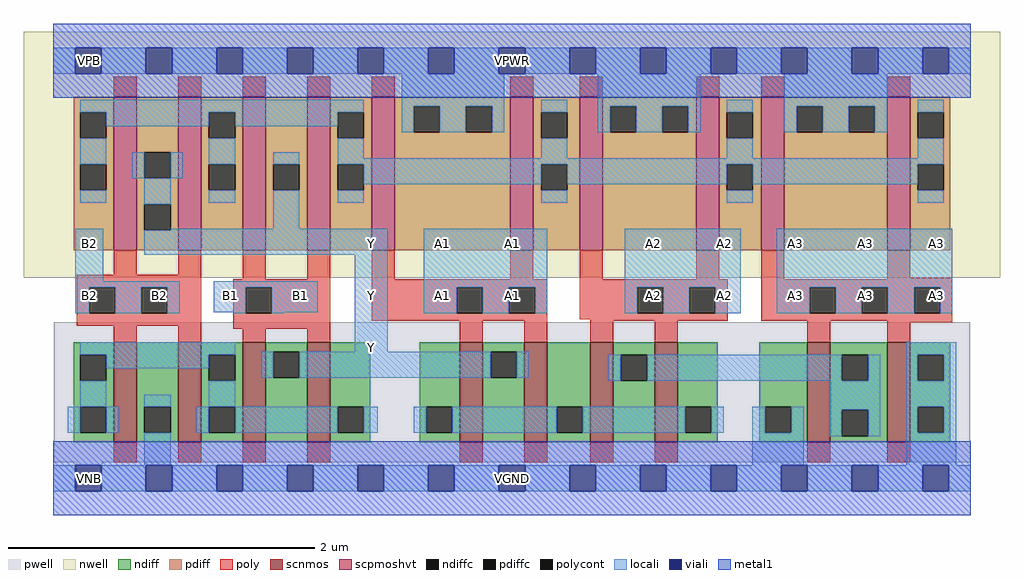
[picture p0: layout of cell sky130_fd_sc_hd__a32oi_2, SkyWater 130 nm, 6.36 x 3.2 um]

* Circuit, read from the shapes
.subckt sky130_fd_sc_hd__a32oi_2 A1 A2 A3 B1 B2 VGND VNB VPB VPWR Y
XM1 VGND B2 n1 VNB sky130_fd_pr__nfet_01v8 w=0.65 l=0.15 m=2
XM2 Y B1 n1 VNB sky130_fd_pr__nfet_01v8 w=0.65 l=0.15 m=2
XM3 Y A1 n2 VNB sky130_fd_pr__nfet_01v8 w=0.65 l=0.15 m=2
XM4 n3 A2 n2 VNB sky130_fd_pr__nfet_01v8 w=0.65 l=0.15 m=2
XM5 n3 A3 VGND VNB sky130_fd_pr__nfet_01v8 w=0.65 l=0.15 m=2
XM6 Y B2 n4 VPB sky130_fd_pr__pfet_01v8_hvt w=1 l=0.15 m=2
XM7 Y B1 n4 VPB sky130_fd_pr__pfet_01v8_hvt w=1 l=0.15 m=2
XM8 VPWR A1 n4 VPB sky130_fd_pr__pfet_01v8_hvt w=1 l=0.15 m=2
XM9 VPWR A2 n4 VPB sky130_fd_pr__pfet_01v8_hvt w=1 l=0.15 m=2
XM10 VPWR A3 n4 VPB sky130_fd_pr__pfet_01v8_hvt w=1 l=0.15 m=2
.ends

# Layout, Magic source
magic
tech sky130B
magscale 1 2
<< nwell >>
rect -38 261 1234 582
<< pwell >>
rect 1 21 1195 203
rect 30 -17 64 21
<< scnmos >>
rect 79 47 109 177
rect 163 47 193 177
rect 247 47 277 177
rect 331 47 361 177
rect 530 47 560 177
rect 614 47 644 177
rect 700 47 730 177
rect 784 47 814 177
rect 983 47 1013 177
rect 1087 47 1117 177
<< scpmoshvt >>
rect 79 297 109 497
rect 163 297 193 497
rect 247 297 277 497
rect 331 297 361 497
rect 415 297 445 497
rect 596 297 626 497
rect 686 297 716 497
rect 838 297 868 497
rect 923 297 953 497
rect 1087 297 1117 497
<< ndiff >>
rect 27 161 79 177
rect 27 127 35 161
rect 69 127 79 161
rect 27 93 79 127
rect 27 59 35 93
rect 69 59 79 93
rect 27 47 79 59
rect 109 93 163 177
rect 109 59 119 93
rect 153 59 163 93
rect 109 47 163 59
rect 193 161 247 177
rect 193 127 203 161
rect 237 127 247 161
rect 193 93 247 127
rect 193 59 203 93
rect 237 59 247 93
rect 193 47 247 59
rect 277 165 331 177
rect 277 131 287 165
rect 321 131 331 165
rect 277 47 331 131
rect 361 93 413 177
rect 361 59 371 93
rect 405 59 413 93
rect 361 47 413 59
rect 478 93 530 177
rect 478 59 486 93
rect 520 59 530 93
rect 478 47 530 59
rect 560 165 614 177
rect 560 131 570 165
rect 604 131 614 165
rect 560 47 614 131
rect 644 93 700 177
rect 644 59 656 93
rect 690 59 700 93
rect 644 47 700 59
rect 730 161 784 177
rect 730 127 740 161
rect 774 127 784 161
rect 730 47 784 127
rect 814 93 866 177
rect 814 59 824 93
rect 858 59 866 93
rect 814 47 866 59
rect 920 93 983 177
rect 920 59 928 93
rect 962 59 983 93
rect 920 47 983 59
rect 1013 161 1087 177
rect 1013 127 1028 161
rect 1062 127 1087 161
rect 1013 89 1087 127
rect 1013 55 1028 89
rect 1062 55 1087 89
rect 1013 47 1087 55
rect 1117 161 1169 177
rect 1117 127 1127 161
rect 1161 127 1169 161
rect 1117 93 1169 127
rect 1117 59 1127 93
rect 1161 59 1169 93
rect 1117 47 1169 59
<< pdiff >>
rect 27 477 79 497
rect 27 443 35 477
rect 69 443 79 477
rect 27 409 79 443
rect 27 375 35 409
rect 69 375 79 409
rect 27 297 79 375
rect 109 425 163 497
rect 109 391 119 425
rect 153 391 163 425
rect 109 357 163 391
rect 109 323 119 357
rect 153 323 163 357
rect 109 297 163 323
rect 193 477 247 497
rect 193 443 203 477
rect 237 443 247 477
rect 193 409 247 443
rect 193 375 203 409
rect 237 375 247 409
rect 193 297 247 375
rect 277 409 331 497
rect 277 375 287 409
rect 321 375 331 409
rect 277 297 331 375
rect 361 477 415 497
rect 361 443 371 477
rect 405 443 415 477
rect 361 409 415 443
rect 361 375 371 409
rect 405 375 415 409
rect 361 297 415 375
rect 445 485 596 497
rect 445 451 470 485
rect 504 451 538 485
rect 572 451 596 485
rect 445 297 596 451
rect 626 477 686 497
rect 626 443 636 477
rect 670 443 686 477
rect 626 409 686 443
rect 626 375 636 409
rect 670 375 686 409
rect 626 297 686 375
rect 716 485 838 497
rect 716 451 726 485
rect 760 451 794 485
rect 828 451 838 485
rect 716 297 838 451
rect 868 477 923 497
rect 868 443 878 477
rect 912 443 923 477
rect 868 409 923 443
rect 868 375 878 409
rect 912 375 923 409
rect 868 297 923 375
rect 953 485 1087 497
rect 953 451 969 485
rect 1003 451 1037 485
rect 1071 451 1087 485
rect 953 297 1087 451
rect 1117 477 1169 497
rect 1117 443 1127 477
rect 1161 443 1169 477
rect 1117 409 1169 443
rect 1117 375 1127 409
rect 1161 375 1169 409
rect 1117 297 1169 375
<< ndiffc >>
rect 35 127 69 161
rect 35 59 69 93
rect 119 59 153 93
rect 203 127 237 161
rect 203 59 237 93
rect 287 131 321 165
rect 371 59 405 93
rect 486 59 520 93
rect 570 131 604 165
rect 656 59 690 93
rect 740 127 774 161
rect 824 59 858 93
rect 928 59 962 93
rect 1028 127 1062 161
rect 1028 55 1062 89
rect 1127 127 1161 161
rect 1127 59 1161 93
<< pdiffc >>
rect 35 443 69 477
rect 35 375 69 409
rect 119 391 153 425
rect 119 323 153 357
rect 203 443 237 477
rect 203 375 237 409
rect 287 375 321 409
rect 371 443 405 477
rect 371 375 405 409
rect 470 451 504 485
rect 538 451 572 485
rect 636 443 670 477
rect 636 375 670 409
rect 726 451 760 485
rect 794 451 828 485
rect 878 443 912 477
rect 878 375 912 409
rect 969 451 1003 485
rect 1037 451 1071 485
rect 1127 443 1161 477
rect 1127 375 1161 409
<< poly >>
rect 79 497 109 523
rect 163 497 193 523
rect 247 497 277 523
rect 331 497 361 523
rect 415 497 445 523
rect 596 497 626 523
rect 686 497 716 523
rect 838 497 868 523
rect 923 497 953 523
rect 1087 497 1117 523
rect 79 265 109 297
rect 163 265 193 297
rect 31 249 193 265
rect 247 259 277 297
rect 331 259 361 297
rect 31 215 47 249
rect 81 215 115 249
rect 149 215 193 249
rect 31 199 193 215
rect 79 177 109 199
rect 163 177 193 199
rect 235 249 361 259
rect 235 215 251 249
rect 285 215 361 249
rect 235 195 361 215
rect 415 259 445 297
rect 596 259 626 297
rect 686 259 716 297
rect 838 259 868 297
rect 923 259 953 297
rect 1087 261 1117 297
rect 1087 259 1172 261
rect 415 249 644 259
rect 415 215 526 249
rect 560 215 594 249
rect 628 215 644 249
rect 415 205 644 215
rect 686 249 879 259
rect 686 215 761 249
rect 795 215 829 249
rect 863 215 879 249
rect 686 207 879 215
rect 247 177 277 195
rect 331 177 361 195
rect 530 177 560 205
rect 614 177 644 205
rect 700 205 879 207
rect 923 249 1172 259
rect 923 215 986 249
rect 1020 215 1054 249
rect 1088 215 1122 249
rect 1156 215 1172 249
rect 923 205 1172 215
rect 700 177 730 205
rect 784 177 814 205
rect 983 177 1013 205
rect 1087 203 1172 205
rect 1087 177 1117 203
rect 79 21 109 47
rect 163 21 193 47
rect 247 21 277 47
rect 331 21 361 47
rect 530 21 560 47
rect 614 21 644 47
rect 700 21 730 47
rect 784 21 814 47
rect 983 21 1013 47
rect 1087 21 1117 47
<< polycont >>
rect 47 215 81 249
rect 115 215 149 249
rect 251 215 285 249
rect 526 215 560 249
rect 594 215 628 249
rect 761 215 795 249
rect 829 215 863 249
rect 986 215 1020 249
rect 1054 215 1088 249
rect 1122 215 1156 249
<< locali >>
rect 0 527 29 561
rect 63 527 121 561
rect 155 527 213 561
rect 247 527 305 561
rect 339 527 397 561
rect 431 527 489 561
rect 523 527 581 561
rect 615 527 673 561
rect 707 527 765 561
rect 799 527 857 561
rect 891 527 949 561
rect 983 527 1041 561
rect 1075 527 1133 561
rect 1167 527 1196 561
rect 35 477 405 493
rect 69 459 203 477
rect 35 409 69 443
rect 237 459 371 477
rect 103 391 119 425
rect 153 391 169 425
rect 203 409 237 443
rect 454 485 588 527
rect 454 451 470 485
rect 504 451 538 485
rect 572 451 588 485
rect 636 477 670 493
rect 35 359 69 375
rect 119 357 153 391
rect 203 359 237 375
rect 287 409 321 425
rect 29 257 65 325
rect 287 325 321 375
rect 371 417 405 443
rect 710 485 844 527
rect 710 451 726 485
rect 760 451 794 485
rect 828 451 844 485
rect 878 477 912 493
rect 636 417 670 443
rect 953 485 1087 527
rect 953 451 969 485
rect 1003 451 1037 485
rect 1071 451 1087 485
rect 1127 477 1161 493
rect 878 417 912 443
rect 1127 417 1161 443
rect 371 409 1161 417
rect 405 383 636 409
rect 371 359 405 375
rect 670 383 878 409
rect 636 359 670 375
rect 912 383 1127 409
rect 878 359 912 375
rect 1127 359 1161 375
rect 153 323 436 325
rect 119 291 436 323
rect 29 249 165 257
rect 29 215 47 249
rect 81 215 115 249
rect 149 215 165 249
rect 209 249 345 257
rect 209 216 251 249
rect 235 215 251 216
rect 285 216 345 249
rect 285 215 301 216
rect 35 161 237 177
rect 393 165 436 291
rect 483 249 644 325
rect 483 215 526 249
rect 560 215 594 249
rect 628 215 644 249
rect 745 249 896 325
rect 745 215 761 249
rect 795 215 829 249
rect 863 215 896 249
rect 943 249 1172 325
rect 943 215 986 249
rect 1020 215 1054 249
rect 1088 215 1122 249
rect 1156 215 1172 249
rect 69 143 203 161
rect 35 93 69 127
rect 271 131 287 165
rect 321 131 570 165
rect 604 131 620 165
rect 1112 161 1177 177
rect 724 127 740 161
rect 774 127 1028 161
rect 1062 127 1078 161
rect 119 93 153 109
rect 203 93 237 127
rect 19 59 35 93
rect 69 59 85 93
rect 187 59 203 93
rect 237 59 371 93
rect 405 59 423 93
rect 470 59 486 93
rect 520 59 656 93
rect 690 59 824 93
rect 858 59 874 93
rect 911 59 928 93
rect 962 59 978 93
rect 119 17 153 59
rect 911 17 978 59
rect 1012 89 1078 127
rect 1012 55 1028 89
rect 1062 55 1078 89
rect 1112 127 1127 161
rect 1161 127 1177 161
rect 1112 93 1177 127
rect 1112 59 1127 93
rect 1161 59 1177 93
rect 1112 17 1177 59
rect 0 -17 29 17
rect 63 -17 121 17
rect 155 -17 213 17
rect 247 -17 305 17
rect 339 -17 397 17
rect 431 -17 489 17
rect 523 -17 581 17
rect 615 -17 673 17
rect 707 -17 765 17
rect 799 -17 857 17
rect 891 -17 949 17
rect 983 -17 1041 17
rect 1075 -17 1133 17
rect 1167 -17 1196 17
<< viali >>
rect 29 527 63 561
rect 121 527 155 561
rect 213 527 247 561
rect 305 527 339 561
rect 397 527 431 561
rect 489 527 523 561
rect 581 527 615 561
rect 673 527 707 561
rect 765 527 799 561
rect 857 527 891 561
rect 949 527 983 561
rect 1041 527 1075 561
rect 1133 527 1167 561
rect 29 -17 63 17
rect 121 -17 155 17
rect 213 -17 247 17
rect 305 -17 339 17
rect 397 -17 431 17
rect 489 -17 523 17
rect 581 -17 615 17
rect 673 -17 707 17
rect 765 -17 799 17
rect 857 -17 891 17
rect 949 -17 983 17
rect 1041 -17 1075 17
rect 1133 -17 1167 17
<< metal1 >>
rect 0 561 1196 592
rect 0 527 29 561
rect 63 527 121 561
rect 155 527 213 561
rect 247 527 305 561
rect 339 527 397 561
rect 431 527 489 561
rect 523 527 581 561
rect 615 527 673 561
rect 707 527 765 561
rect 799 527 857 561
rect 891 527 949 561
rect 983 527 1041 561
rect 1075 527 1133 561
rect 1167 527 1196 561
rect 0 496 1196 527
rect 0 17 1196 48
rect 0 -17 29 17
rect 63 -17 121 17
rect 155 -17 213 17
rect 247 -17 305 17
rect 339 -17 397 17
rect 431 -17 489 17
rect 523 -17 581 17
rect 615 -17 673 17
rect 707 -17 765 17
rect 799 -17 857 17
rect 891 -17 949 17
rect 983 -17 1041 17
rect 1075 -17 1133 17
rect 1167 -17 1196 17
rect 0 -48 1196 -17
<< labels >>
flabel locali s 122 221 156 255 0 FreeSans 200 0 0 0 B2
port 5 nsew signal input
flabel locali s 950 289 984 323 0 FreeSans 200 0 0 0 A3
port 3 nsew signal input
flabel locali s 1042 221 1076 255 0 FreeSans 200 0 0 0 A3
port 3 nsew signal input
flabel locali s 1042 289 1076 323 0 FreeSans 200 0 0 0 A3
port 3 nsew signal input
flabel locali s 1134 221 1168 255 0 FreeSans 200 0 0 0 A3
port 3 nsew signal input
flabel locali s 1134 289 1168 323 0 FreeSans 200 0 0 0 A3
port 3 nsew signal input
flabel locali s 858 289 892 323 0 FreeSans 200 0 0 0 A2
port 2 nsew signal input
flabel locali s 766 221 800 255 0 FreeSans 200 0 0 0 A2
port 2 nsew signal input
flabel locali s 766 289 800 323 0 FreeSans 200 0 0 0 A2
port 2 nsew signal input
flabel locali s 950 221 984 255 0 FreeSans 200 0 0 0 A3
port 3 nsew signal input
flabel locali s 490 221 524 255 0 FreeSans 200 0 0 0 A1
port 1 nsew signal input
flabel locali s 582 289 616 323 0 FreeSans 200 0 0 0 A1
port 1 nsew signal input
flabel locali s 490 289 524 323 0 FreeSans 200 0 0 0 A1
port 1 nsew signal input
flabel locali s 858 221 892 255 0 FreeSans 200 0 0 0 A2
port 2 nsew signal input
flabel locali s 398 289 432 323 0 FreeSans 200 0 0 0 Y
port 10 nsew signal output
flabel locali s 582 221 616 255 0 FreeSans 200 0 0 0 A1
port 1 nsew signal input
flabel locali s 214 221 248 255 0 FreeSans 200 0 0 0 B1
port 4 nsew signal input
flabel locali s 398 153 432 187 0 FreeSans 200 0 0 0 Y
port 10 nsew signal output
flabel locali s 30 289 64 323 0 FreeSans 200 0 0 0 B2
port 5 nsew signal input
flabel locali s 398 221 432 255 0 FreeSans 200 0 0 0 Y
port 10 nsew signal output
flabel locali s 306 221 340 255 0 FreeSans 200 0 0 0 B1
port 4 nsew signal input
flabel locali s 30 221 64 255 0 FreeSans 200 0 0 0 B2
port 5 nsew signal input
flabel pwell s 30 -17 64 17 0 FreeSans 200 0 0 0 VNB
port 7 nsew ground bidirectional
flabel nwell s 30 527 64 561 0 FreeSans 200 0 0 0 VPB
port 8 nsew power bidirectional
flabel metal1 s 30 -17 64 17 0 FreeSans 200 0 0 0 VGND
port 6 nsew ground bidirectional abutment
flabel metal1 s 30 527 64 561 0 FreeSans 200 0 0 0 VPWR
port 9 nsew power bidirectional abutment
rlabel comment s 0 0 0 0 4 a32oi_2
rlabel metal1 s 0 -48 1196 48 1 VGND
port 6 nsew ground bidirectional abutment
rlabel metal1 s 0 496 1196 592 1 VPWR
port 9 nsew power bidirectional abutment
<< properties >>
string FIXED_BBOX 0 0 1196 544
string GDS_END 3484956
string GDS_FILE $PDKPATH/libs.ref/sky130_fd_sc_hd/gds/sky130_fd_sc_hd.gds
string GDS_START 3473722
string LEFclass CORE
string LEFsite unithd
string LEFsymmetry X Y R90
string path 0.000 0.000 29.900 0.000 
<< end >>
